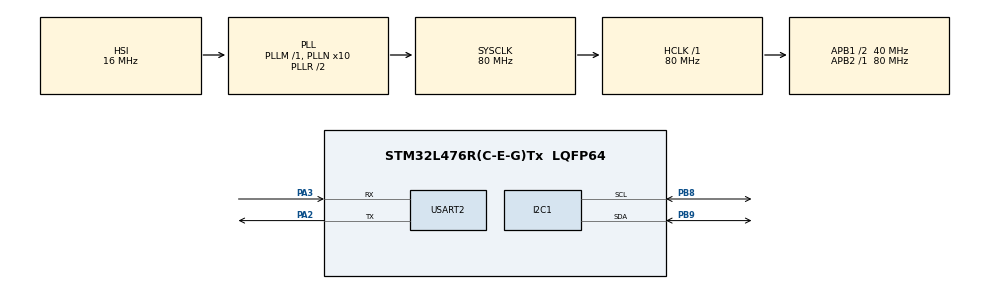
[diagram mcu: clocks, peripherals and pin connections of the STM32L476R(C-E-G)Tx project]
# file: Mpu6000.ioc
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I2C1.Timing=0x00909BEB
Mcu.Family=STM32L4
Mcu.Name=STM32L476R(C-E-G)Tx
Mcu.Package=LQFP64
NVIC.PriorityGroup=NVIC_PRIORITYGROUP_4
PA2.Mode=Asynchronous
PA2.Signal=USART2_TX
PA3.Mode=Asynchronous
PA3.Signal=USART2_RX
PB8.Mode=I2C
PB8.Signal=I2C1_SCL
PB9.Mode=I2C
PB9.Signal=I2C1_SDA
ProjectManager.HeapSize=0x200
ProjectManager.StackSize=0x400
ProjectManager.TargetToolchain=SW4STM32
RCC.ADCFreq_Value=64000000
RCC.AHBFreq_Value=80000000
RCC.APB1CLKDivider=RCC_HCLK_DIV2
RCC.APB1Freq_Value=40000000
RCC.APB1TimFreq_Value=80000000
RCC.APB2Freq_Value=80000000
RCC.APB2TimFreq_Value=80000000
RCC.CortexFreq_Value=80000000
RCC.HCLKFreq_Value=80000000
RCC.HSE_VALUE=8000000
RCC.HSI_VALUE=16000000
RCC.LSE_VALUE=32768
RCC.MSI_VALUE=4000000
RCC.PLLN=10
RCC.PLLSourceVirtual=RCC_PLLSOURCE_HSI
RCC.SYSCLKFreq_VALUE=80000000
RCC.SYSCLKSource=RCC_SYSCLKSOURCE_PLLCLK
RCC.USBFreq_Value=64000000
RCC.VCOOutputFreq_Value=160000000
USART2.VirtualMode-Asynchronous=VM_ASYNC
board=custom

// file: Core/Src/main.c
/* USER CODE BEGIN Header */
/**
  ******************************************************************************
  * @file           : main.c
  * @brief          : Main program body
  ******************************************************************************
  * @attention
  *
  * <h2><center>&copy; Copyright (c) 2019 STMicroelectronics.
  * All rights reserved.</center></h2>
  *
  * This software component is licensed by ST under BSD 3-Clause license,
  * the "License"; You may not use this file except in compliance with the
  * License. You may obtain a copy of the License at:
  *                        opensource.org/licenses/BSD-3-Clause
  *
  ******************************************************************************
  */
/* USER CODE END Header */
#include "main.h"
#include "stm32l4xx_hal.h"
/* USER CODE BEGIN Includes */
#include "TJ_MPU6050.h"
#include "MY_NRF24.h"
/* USER CODE END Includes */

I2C_HandleTypeDef hi2c1;

UART_HandleTypeDef huart2;

void SystemClock_Config(void);
static void MX_GPIO_Init(void);
static void MX_I2C1_Init(void);
static void MX_USART2_UART_Init(void);

/* USER CODE BEGIN 0 */
RawData_Def myAccelRaw, myGyroRaw;
ScaledData_Def myAccelScaled, myGyroScaled;
/* USER CODE END 0 */

int main(void)
{
  /* USER CODE BEGIN 1 */
	MPU_ConfigTypeDef myMpuConfig;
  /* USER CODE END 1 */

  /* MCU Configuration--------------------------------------------------------*/

  /* Reset of all peripherals, Initializes the Flash interface and the Systick. */
  HAL_Init();

  /* Configure the system clock */
  SystemClock_Config();

  /* Initialize all configured peripherals */
  MX_GPIO_Init();
  MX_I2C1_Init();
  MX_USART2_UART_Init();
  /* USER CODE BEGIN 2 */
	//1. Initialise the MPU6050 module and I2C
	MPU6050_Init(&hi2c1);
	//2. Configure Accel and Gyro parameters
	myMpuConfig.Accel_Full_Scale = AFS_SEL_4g;
	myMpuConfig.ClockSource = Internal_8MHz;
	myMpuConfig.CONFIG_DLPF = DLPF_184A_188G_Hz;
	myMpuConfig.Gyro_Full_Scale = FS_SEL_500;
	myMpuConfig.Sleep_Mode_Bit = 0;  //1: sleep mode, 0: normal mode
	MPU6050_Config(&myMpuConfig);

  /* USER CODE END 2 */

  /* Infinite loop */
  while (1)
  {

    /* USER CODE BEGIN 3 */
		//Raw data
		MPU6050_Get_Accel_RawData(&myAccelRaw);
		MPU6050_Get_Gyro_RawData(&myGyroRaw);

		//Scaled data
		MPU6050_Get_Accel_Scale(&myAccelScaled);
		MPU6050_Get_Gyro_Scale(&myGyroScaled);

		HAL_GPIO_TogglePin(GPIOA, GPIO_PIN_5);
		HAL_Delay(10);
  }
  /* USER CODE END 3 */
}

void SystemClock_Config(void)
{
  RCC_OscInitTypeDef RCC_OscInitStruct = {0};
  RCC_ClkInitTypeDef RCC_ClkInitStruct = {0};
  RCC_PeriphCLKInitTypeDef PeriphClkInit = {0};

  /** Initializes the RCC Oscillators according to the specified parameters
  * in the RCC_OscInitTypeDef structure.
  */
  RCC_OscInitStruct.OscillatorType = RCC_OSCILLATORTYPE_HSI;
  RCC_OscInitStruct.HSIState = RCC_HSI_ON;
  RCC_OscInitStruct.HSICalibrationValue = RCC_HSICALIBRATION_DEFAULT;
  RCC_OscInitStruct.PLL.PLLState = RCC_PLL_ON;
  RCC_OscInitStruct.PLL.PLLSource = RCC_PLLSOURCE_HSI;
  RCC_OscInitStruct.PLL.PLLM = 1;
  RCC_OscInitStruct.PLL.PLLN = 10;
  RCC_OscInitStruct.PLL.PLLP = RCC_PLLP_DIV7;
  RCC_OscInitStruct.PLL.PLLQ = RCC_PLLQ_DIV2;
  RCC_OscInitStruct.PLL.PLLR = RCC_PLLR_DIV2;
  if (HAL_RCC_OscConfig(&RCC_OscInitStruct) != HAL_OK)
  {
    Error_Handler();
  }
  /** Initializes the CPU, AHB and APB buses clocks
  */
  RCC_ClkInitStruct.ClockType = RCC_CLOCKTYPE_HCLK|RCC_CLOCKTYPE_SYSCLK
                              |RCC_CLOCKTYPE_PCLK1|RCC_CLOCKTYPE_PCLK2;
  RCC_ClkInitStruct.SYSCLKSource = RCC_SYSCLKSOURCE_PLLCLK;
  RCC_ClkInitStruct.AHBCLKDivider = RCC_SYSCLK_DIV1;
  RCC_ClkInitStruct.APB1CLKDivider = RCC_HCLK_DIV2;
  RCC_ClkInitStruct.APB2CLKDivider = RCC_HCLK_DIV1;

  if (HAL_RCC_ClockConfig(&RCC_ClkInitStruct, FLASH_LATENCY_4) != HAL_OK)
  {
    Error_Handler();
  }
  PeriphClkInit.PeriphClockSelection = RCC_PERIPHCLK_USART2|RCC_PERIPHCLK_I2C1;
  PeriphClkInit.Usart2ClockSelection = RCC_USART2CLKSOURCE_PCLK1;
  PeriphClkInit.I2c1ClockSelection = RCC_I2C1CLKSOURCE_PCLK1;
  if (HAL_RCCEx_PeriphCLKConfig(&PeriphClkInit) != HAL_OK)
  {
    Error_Handler();
  }
  /** Configure the main internal regulator output voltage
  */
  if (HAL_PWREx_ControlVoltageScaling(PWR_REGULATOR_VOLTAGE_SCALE1) != HAL_OK)
  {
    Error_Handler();
  }
}

static void MX_I2C1_Init(void)
{

  hi2c1.Instance = I2C1;
  hi2c1.Init.Timing = 0x00909BEB;
  hi2c1.Init.OwnAddress1 = 0;
  hi2c1.Init.AddressingMode = I2C_ADDRESSINGMODE_7BIT;
  hi2c1.Init.DualAddressMode = I2C_DUALADDRESS_DISABLE;
  hi2c1.Init.OwnAddress2 = 0;
  hi2c1.Init.OwnAddress2Masks = I2C_OA2_NOMASK;
  hi2c1.Init.GeneralCallMode = I2C_GENERALCALL_DISABLE;
  hi2c1.Init.NoStretchMode = I2C_NOSTRETCH_DISABLE;
  if (HAL_I2C_Init(&hi2c1) != HAL_OK)
  {
    Error_Handler();
  }
  /** Configure Analogue filter
  */
  if (HAL_I2CEx_ConfigAnalogFilter(&hi2c1, I2C_ANALOGFILTER_ENABLE) != HAL_OK)
  {
    Error_Handler();
  }
  /** Configure Digital filter
  */
  if (HAL_I2CEx_ConfigDigitalFilter(&hi2c1, 0) != HAL_OK)
  {
    Error_Handler();
  }

}

static void MX_USART2_UART_Init(void)
{

  huart2.Instance = USART2;
  huart2.Init.BaudRate = 115200;
  huart2.Init.WordLength = UART_WORDLENGTH_8B;
  huart2.Init.StopBits = UART_STOPBITS_1;
  huart2.Init.Parity = UART_PARITY_NONE;
  huart2.Init.Mode = UART_MODE_TX_RX;
  huart2.Init.HwFlowCtl = UART_HWCONTROL_NONE;
  huart2.Init.OverSampling = UART_OVERSAMPLING_16;
  huart2.Init.OneBitSampling = UART_ONE_BIT_SAMPLE_DISABLE;
  huart2.AdvancedInit.AdvFeatureInit = UART_ADVFEATURE_NO_INIT;
  if (HAL_UART_Init(&huart2) != HAL_OK)
  {
    Error_Handler();
  }

}

static void MX_GPIO_Init(void)
{

  /* GPIO Ports Clock Enable */
  __HAL_RCC_GPIOA_CLK_ENABLE();
  __HAL_RCC_GPIOB_CLK_ENABLE();

}

void Error_Handler(void)
{
}

/************************ (C) COPYRIGHT STMicroelectronics *****END OF FILE****/
